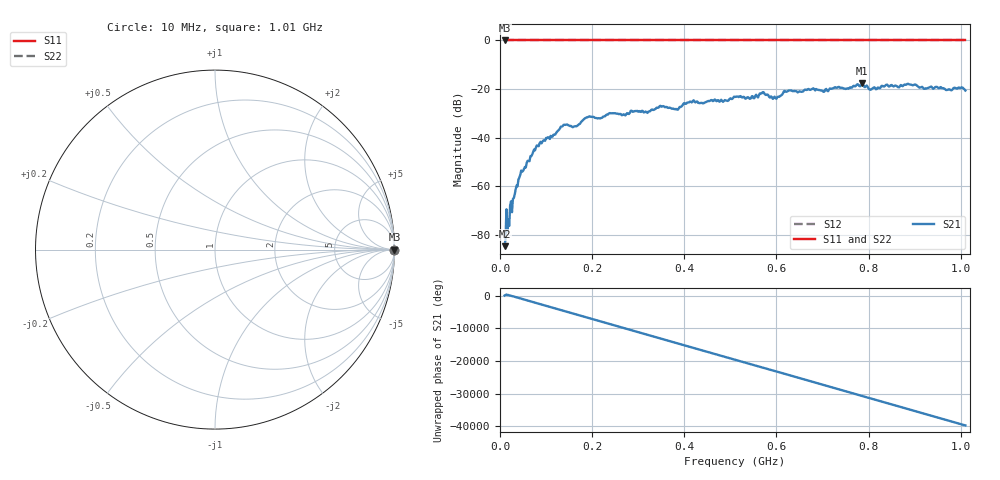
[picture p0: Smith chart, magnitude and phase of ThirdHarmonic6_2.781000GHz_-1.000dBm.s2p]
! 8/17/2025 7:08:08 AM
! C:\ANRITSUVNA\TEMP\TEMP.S2P
! CHANNEL.1
! TR.MEASUREMENT
! RAW.DATA
! RF.CORRECTION.OFF
! AVERAGING.OFF
! IF.BANDWIDTH: 5KHZ
! SWEEPTYPE:  FREQ.SWEEP(Linear)
! Reference Plane Port Info
! PORT:  PORT1  PORT2
! DISTANCE:  0  m  0  m
! TIME:  0  s  0  s
! PHASE.OFFSET:  0  deg.  0  deg.
! LOSS:  0  dB  0  dB
! REF.LOSS:  0  dB  0  dB
! REF.FREQ:  0  Hz  0  Hz
! Power Info
! POWER:  -20  dBm  -20  dBm
! EFF.POWER:  -20  dBm  -20  dBm
! SOURCE.ATTEN:  0  dB  0  dB
! TEST.ATTEN:  0  dB  0  dB
# GHZ S RI R 50.0
! FREQ.GHZ  S11RE  S11IM  S21RE  S21IM  S12RE  S12IM  S22RE  S22IM
!; PortSelection: Port_12
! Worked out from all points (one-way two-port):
!   501 points, 10 MHz to 1.01 GHz, reference 50 ohm
!   highest |S21| = -17.59 dB at 786 MHz (marker M1); lowest = -84.8 dB at 10 MHz (marker M2)
!   lowest |S11| = 0.0 dB at 10 MHz (marker M3)
!   |S11| at or under -10 dB: nowhere
!   |S22| runs from 0.0 to 0.0 dB; largest |S21 - S12| = 1.1
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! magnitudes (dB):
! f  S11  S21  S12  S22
! 10 MHz  0.0  -84.8  0.0  0.0
! 16 MHz  0.0  -78.6  0.0  0.0
! 26 MHz  0.0  -70.8  0.0  0.0
! 44 MHz  0.0  -55.4  0.0  0.0
! 76 MHz  0.0  -45.3  0.0  0.0
! 136 MHz  0.0  -35.4  0.0  0.0
! 162 MHz  0.0  -35.4  0.0  0.0
! 178 MHz  0.0  -33.2  0.0  0.0
! 192 MHz  0.0  -31.4  0.0  0.0
! 344 MHz  0.0  -27.7  0.0  0.0
! 382 MHz  0.0  -28.2  0.0  0.0
! 416 MHz  0.0  -25.5  0.0  0.0
! 510 MHz  0.0  -23.2  0.0  0.0
! 546 MHz  0.0  -23.1  0.0  0.0
! 568 MHz  0.0  -21.8  0.0  0.0
! 596 MHz  0.0  -23.2  0.0  0.0
! 620 MHz  0.0  -21.1  0.0  0.0
! 678 MHz  0.0  -19.9  0.0  0.0
! 786 MHz  0.0  -17.6  0.0  0.0
! 804 MHz  0.0  -20.4  0.0  0.0
! 844 MHz  0.0  -19.0  0.0  0.0
! 1.01 GHz  0.0  -20.6  0.0  0.0
